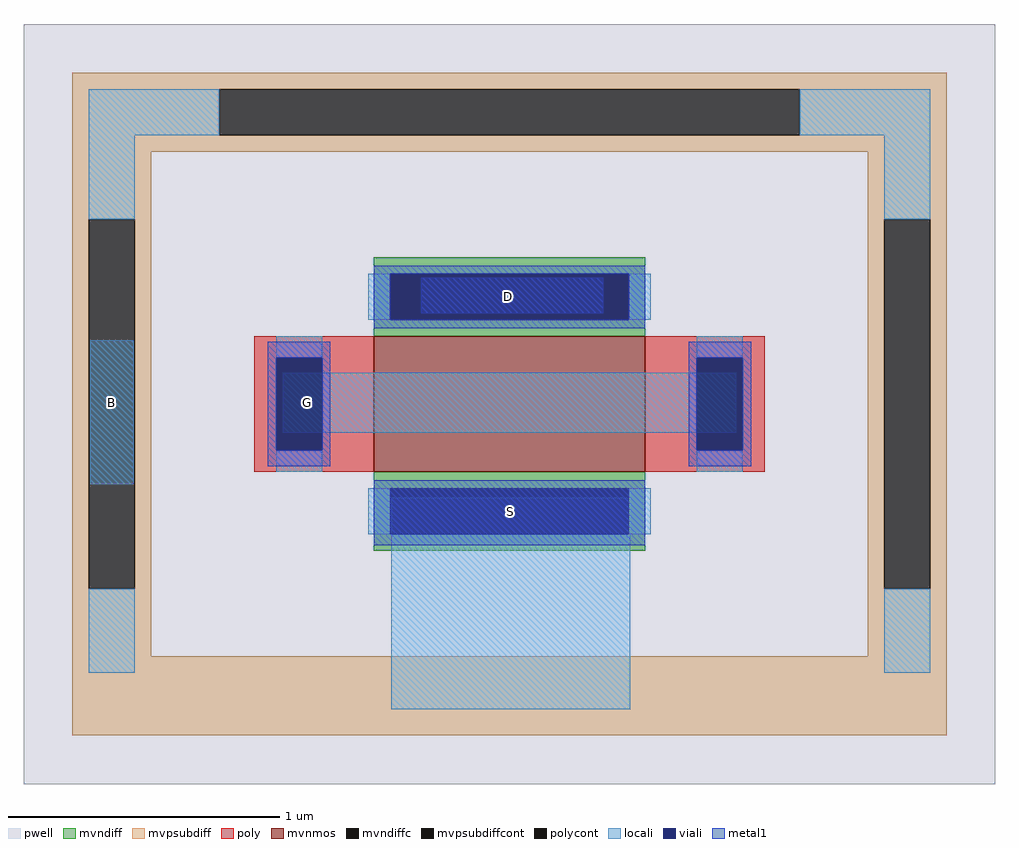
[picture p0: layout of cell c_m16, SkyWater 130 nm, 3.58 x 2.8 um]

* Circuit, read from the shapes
.subckt c_m16 D G S B
XM1 D G S B sky130_fd_pr__nfet_g5v0d10v5 w=1 l=0.5
.ends

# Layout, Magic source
magic
tech sky130A
magscale 1 2
<< locali >>
rect 0 162 32 268
rect 142 200 476 244
rect 222 -4 398 152
<< metal1 >>
rect 244 288 378 314
rect 209 117 409 165
use sky130_fd_pr__nfet_g5v0d10v5_RJ9VG4  sky130_fd_pr__nfet_g5v0d10v5_RJ9VG4_0
transform 0 -1 309 1 0 221
box -280 -358 280 358
<< labels >>
flabel metal1 308 300 308 300 0 FreeSans 800 0 0 0 D
port 0 nsew
flabel locali 160 222 160 222 0 FreeSans 800 0 0 0 G
port 1 nsew
flabel locali 16 222 16 222 0 FreeSans 800 0 0 0 B
port 3 nsew
flabel metal1 310 142 310 142 0 FreeSans 800 0 0 0 S
port 2 nsew
<< end >>

# cell sky130_fd_pr__nfet_g5v0d10v5_RJ9VG4: kit device sky130_fd_pr__nfet_g5v0d10v5, w 1 l 0.5 m 1 nf 1 diffcov 100 polycov 100 guard 1 glc 1 grc 1 gtc 1 gbc 1 tbcov 100 rlcov 100 topc 1 botc 1 poverlap 0 doverlap 1 lmin 0.50 wmin 0.42 class mosfet compatible {sky130_fd_pr__nfet_01v8 sky130_fd_pr__nfet_01v8_lvt sky130_fd_bs_flash__special_sonosfet_star sky130_fd_pr__nfet_g5v0d10v5 sky130_fd_pr__nfet_05v0_nvt sky130_fd_pr__nfet_03v3_nvt} full_metal 1 conn_gates 0 viasrc 100 viadrn 100 viagate 100 viagb 0 viagr 0 viagl 0 viagt 0 doports 1
